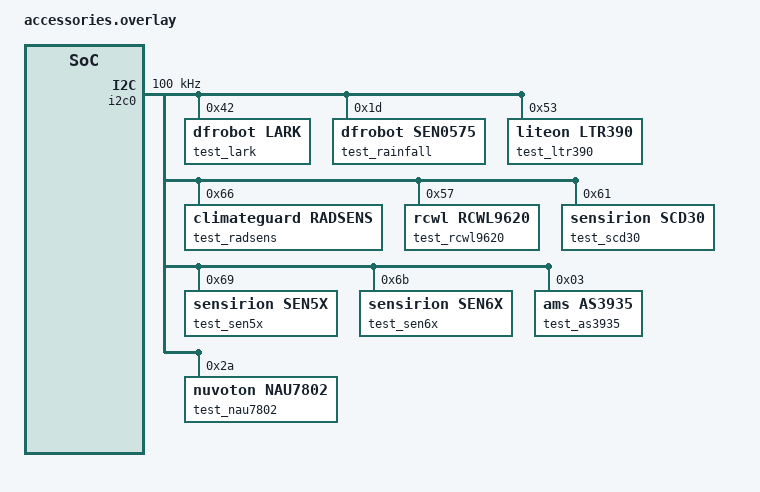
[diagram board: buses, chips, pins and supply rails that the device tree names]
/* Build-only fixture for stock I2C accessory commands. */
/ {
    aliases {
        zt-scd30 = &test_scd30;
        zt-sen5x = &test_sen5x;
        zt-sen6x = &test_sen6x;
        zt-as3935 = &test_as3935;
        zt-nau7802 = &test_nau7802;
        zt-lark = &test_lark;
        zt-rainfall = &test_rainfall;
        zt-ltr390 = &test_ltr390;
        zt-radsens = &test_radsens;
        zt-rcwl9620 = &test_rcwl9620;
    };
};
&i2c0 {
    status = "okay";
    clock-frequency = <100000>;
    test_lark: lark@42 { compatible = "dfrobot,lark"; reg = <0x42>; };
    test_rainfall: rain@1d { compatible = "dfrobot,sen0575"; reg = <0x1d>; };
    test_ltr390: light@53 { compatible = "liteon,ltr390"; reg = <0x53>; };
    test_radsens: radiation@66 { compatible = "climateguard,radsens"; reg = <0x66>; };
    test_rcwl9620: range@57 { compatible = "rcwl,rcwl9620"; reg = <0x57>; };
    test_scd30: scd30@61 { compatible = "sensirion,scd30"; reg = <0x61>; };
    test_sen5x: sen5x@69 { compatible = "sensirion,sen5x"; reg = <0x69>; };
    test_sen6x: sen6x@6b { compatible = "sensirion,sen6x"; reg = <0x6b>; };
    test_as3935: as3935@3 { compatible = "ams,as3935"; reg = <0x03>; };
    test_nau7802: nau7802@2a { compatible = "nuvoton,nau7802"; reg = <0x2a>; };
};
